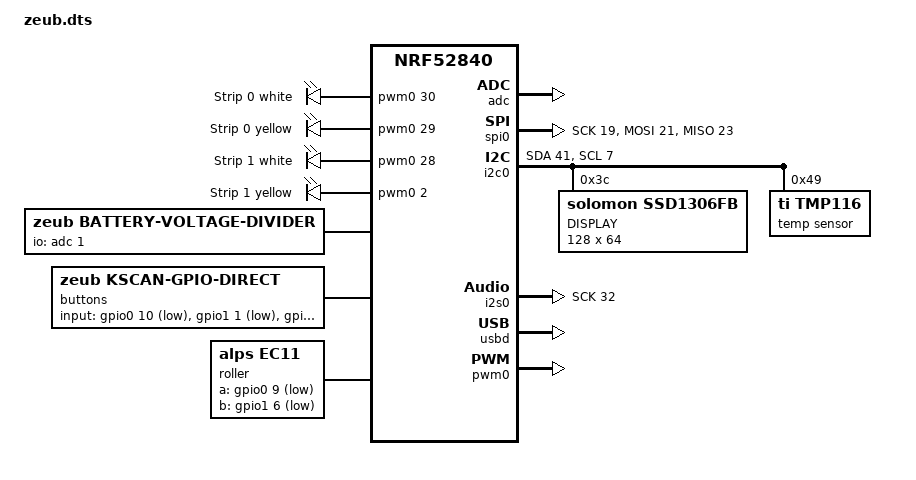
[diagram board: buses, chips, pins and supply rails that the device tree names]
/dts-v1/;
#include <nordic/nrf52840_qiaa.dtsi>

#include <dt-bindings/led/led.h>

 / {
	chosen {
		zephyr,bt-mon-uart = &uart0;
		zephyr,bt-c2h-uart = &uart0;
		zephyr,sram = &sram0;
		zephyr,flash = &flash0;
		zephyr,code-partition = &flash_code_raw;
        zephyr,console = &cdc_dev;
	};

    led_strip: led_strip {
        compatible = "pwm-leds";
        strip_w0 {
            pwms = <&pwm0 30>;
            label = "Strip 0 white";
        };
        strip_y0 {
            pwms = <&pwm0 29>;
            label = "Strip 0 yellow";
        };
        strip_w1 {
            pwms = <&pwm0 28>;
            label = "Strip 1 white";
        };
        strip_y1 {
            pwms = <&pwm0 2>;
            label = "Strip 1 yellow";
        };
    };

    bat {
        compatible = "zeub,battery-voltage-divider";
        label = "BATTERY";
        io-channels = <&adc 1>;
        output-ohms = <1>;
        full-ohms = <(1 + 1)>;
    };

    buttons: kscan {
        compatible = "zeub,kscan-gpio-direct";
        status = "okay";
        label = "buttons";
        input-gpios
			= <&gpio0 10 (GPIO_PULL_UP | GPIO_ACTIVE_LOW)>      // Encoder push button
			, <&gpio1  1 (GPIO_PULL_UP | GPIO_ACTIVE_LOW)>      // 5 way select up/A
			, <&gpio1 10 (GPIO_PULL_UP | GPIO_ACTIVE_LOW)>      // 5 way select down/D
			, <&gpio1  4 (GPIO_PULL_UP | GPIO_ACTIVE_LOW)>      // 5 way select left/C
			, <&gpio1 13 (GPIO_PULL_UP | GPIO_ACTIVE_LOW)>      // 5 way select right/B
			, <&gpio1  2 (GPIO_PULL_UP | GPIO_ACTIVE_LOW)>      // 5 way select center/E
            ;
    };

	roller: roller {
		compatible = "alps,ec11";
		status = "okay";
		a-gpios = <&gpio0 9 (GPIO_PULL_UP | GPIO_ACTIVE_LOW)>;
		b-gpios = <&gpio1 6 (GPIO_PULL_UP | GPIO_ACTIVE_LOW)>;
		resolution = <4>;
	};
};

&adc {
	status = "okay";
};

&gpiote {
	status = "okay";
};

&gpio0 {
	status = "okay";
};

&gpio1 {
	status = "okay";
};

&spi0 {
    compatible = "nordic,nrf-spim";
    /* status = "okay"; */
    sck-pin = <19>;
    mosi-pin = <21>;
    miso-pin = <23>;
};

&i2c0 {
    compatible = "nordic,nrf-twi";
    status = "okay";
    scl-pin = <7>;
    sda-pin = <41>;
    oled: ssd1306@3c {
        compatible = "solomon,ssd1306fb";
        status = "okay";
        reg = <0x3c>;
        label = "DISPLAY";
        width = <128>;
        height = <64>;
        segment-offset = <0>;
        page-offset = <0>;
        display-offset = <0>;
        multiplex-ratio = <63>;
        segment-remap;
        com-invdir;
        com-sequential;
        prechargep = <0x22>;
    };

    tmp117: tmp117@49 {
        compatible = "ti,tmp116";
        status = "okay";
        reg = <0x49>;
        label = "temp sensor";
    };
};

&i2s0 {
    /* status = "okay"; */
    sck-pin = <32>;
    lrck-pin = <22>;
    sdout-pin = <5>;
    sdin-pin = <4>;

    left_speaker: left_speaker {
    };
};

&spi1 {
    status = "disabled";
};

&flash0 {
	/*
	 * For more information, see:
	 * http://docs.zephyrproject.org/latest/devices/dts/flash_partitions.html
	 */
	my-partitions {
		compatible = "fixed-partitions";
		#address-cells = <1>;
		#size-cells = <1>;

		flash_sd: partition_sd@0 {
			label = "softdevice";
			reg = <0x00000000 0x00026000>;
		};
		flash_mbr: partition@0 {
			label = "mbr";
			reg = <0x00000000 0x00001000>;
		};
		flash_code_soft: partition@26000 {
			label = "code_partition_softdevice";
			reg = <0x00026000 0x000c6000>;
		};
		flash_code: partition@1000 {
			label = "code_partition";
			reg = <0x00001000 0x000eb000>;
		};
		flash_code_raw: partition_raw@0 {
			label = "raw_code_partition";
			reg = <0x00000000 0x000ec000>;
		};

		/*
		 * The flash starting at 0x000ec000 and ending at
		 * 0x000f3fff is reserved for use by the application.
		 */

		/*
		 * Storage partition will be used by FCB/LittleFS/NVS
		 * if enabled.
		 */
		flash_storage: partition@ec000 {
			label = "flash_storage";
			reg = <0x000ec000 0x00008000>;
		};

		flash_boot: partition@f4000 {
			label = "adafruit_boot";
			reg = <0x000f4000 0x0000c000>;
		};
	};
};

zephyr_udc0: &usbd {
	compatible = "nordic,nrf-usbd";
	status = "okay";

	cdc_dev: cdc_acm_uart0 {
		compatible = "zephyr,cdc-acm-uart";
		label = "CDC_ACM_0";
	};
};

&pwm0 {
    status = "okay";
    ch0-pin = <30>;
    ch1-pin = <29>;
    ch2-pin = <28>;
    ch3-pin = <2>;
};
